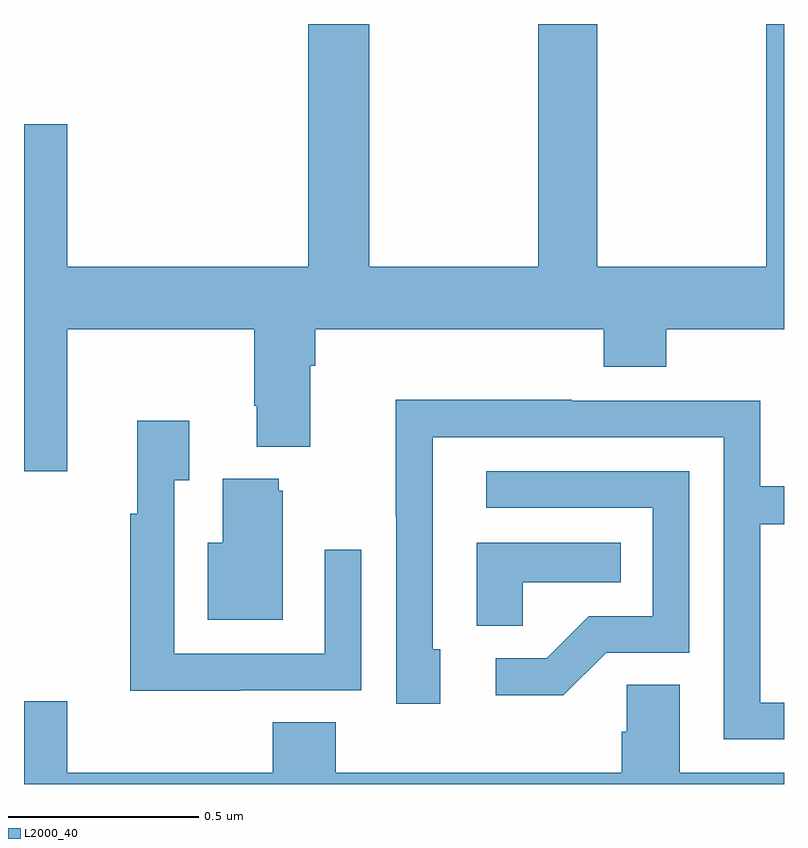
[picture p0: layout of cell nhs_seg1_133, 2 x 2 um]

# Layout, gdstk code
import gdstk
lib = gdstk.Library(unit=1e-6, precision=1e-09)
def P(c, l, *ps):  # polygons
    for p in ps: c.add(gdstk.Polygon(p, *l))
L2000_40 = (2000, 40)

nhs_seg1_133 = lib.new_cell('nhs_seg1_133')
P(nhs_seg1_133, L2000_40, [(112.114,554.396),(112.606,554.396),(112.606,554.194),(112.613,554.194),(112.613,554.087),(112.753,554.087),(112.753,554.3),(112.766,554.3),(112.766,554.396),(113.525,554.396),(113.525,554.297),(113.69,554.297),(113.69,554.396),(114,554.396),(114,555.199),(113.953,555.199),(113.953,554.56),(113.508,554.56),(113.508,555.199),(113.353,555.199),(113.353,554.56),(112.908,554.56),(112.908,555.199),(112.748,555.199),(112.748,554.56),(112.114,554.56),(112.114,554.935),(112,554.935),(112,554.022),(112.114,554.022)],
  [(114,553.413),(113.937,553.413),(113.937,553.882),(114,553.882),(114,553.983),(113.937,553.983),(113.937,554.208),(113.441,554.208),(113.441,554.21),(112.978,554.21),(112.978,553.903),(112.98,553.903),(112.98,553.41),(113.095,553.41),(113.095,553.554),(113.076,553.554),(113.076,554.112),(113.841,554.112),(113.841,553.317),(114,553.317)],
  [(112.571,553.446),(112.887,553.446),(112.887,553.816),(112.791,553.816),(112.791,553.542),(112.395,553.542),(112.395,553.999),(112.435,553.999),(112.435,554.155),(112.298,554.155),(112.298,553.91),(112.279,553.91),(112.279,553.445),(112.571,553.445)],
  [(113.532,553.545),(113.751,553.545),(113.751,554.022),(113.217,554.022),(113.217,553.926),(113.655,553.926),(113.655,553.641),(113.486,553.641),(113.375,553.53),(113.241,553.53),(113.241,553.433),(113.419,553.433)],
  [(112.681,553.971),(112.67,553.971),(112.67,554.002),(112.523,554.002),(112.523,553.834),(112.484,553.834),(112.484,553.631),(112.681,553.631)],
  [(113.313,553.73),(113.57,553.73),(113.57,553.834),(113.192,553.834),(113.192,553.615),(113.313,553.615)],
  [(114,553.228),(113.725,553.228),(113.725,553.46),(113.586,553.46),(113.586,553.337),(113.573,553.337),(113.573,553.228),(112.82,553.228),(112.82,553.361),(112.655,553.361),(112.655,553.228),(112.114,553.228),(112.114,553.417),(112,553.417),(112,553.199),(114,553.199)])

lib.write_gds('nhs_seg1_133.gds')
